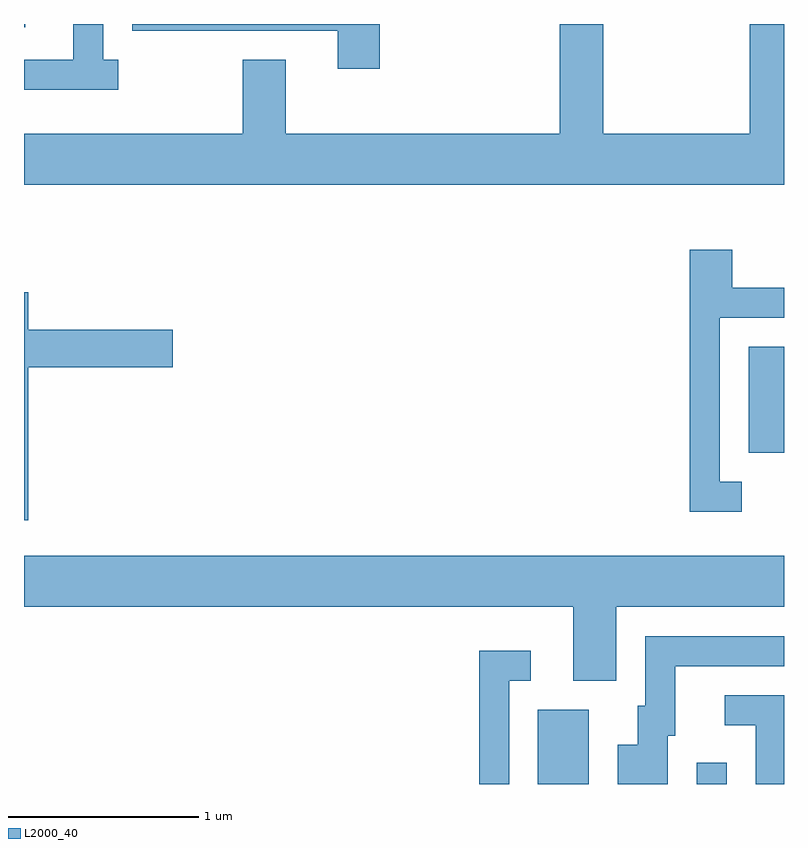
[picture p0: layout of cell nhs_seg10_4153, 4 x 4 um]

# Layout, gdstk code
import gdstk
lib = gdstk.Library(unit=1e-6, precision=1e-09)
def R(c, l, rs):  # rectangles x0, y0, x1, y1
    for r in rs: c.add(gdstk.rectangle(r[:2], r[2:], *l))
def P(c, l, *ps):  # polygons
    for p in ps: c.add(gdstk.Polygon(p, *l))
L2000_40 = (2000, 40)

nhs_seg10_4153 = lib.new_cell('nhs_seg10_4153')
R(nhs_seg10_4153, L2000_40, [(310.316,2128.522,310.584,2128.914), (311.151,2128.522,311.309,2128.633), (311.426,2130.266,311.611,2130.824), (307.611,2132.506,307.618,2132.522)])
P(nhs_seg10_4153, L2000_40, [(311.611,2132.522),(311.431,2132.522),(311.431,2131.944),(310.659,2131.944),(310.659,2132.522),(310.431,2132.522),(310.431,2131.944),(308.989,2131.944),(308.989,2132.334),(308.761,2132.334),(308.761,2131.944),(307.611,2131.944),(307.611,2131.676),(311.611,2131.676)],
  [(309.484,2132.522),(308.181,2132.522),(308.181,2132.486),(309.261,2132.486),(309.261,2132.286),(309.484,2132.286)],
  [(308.108,2132.334),(308.029,2132.334),(308.029,2132.522),(307.871,2132.522),(307.871,2132.334),(307.611,2132.334),(307.611,2132.176),(308.108,2132.176)],
  [(311.388,2130.114),(311.274,2130.114),(311.274,2130.976),(311.611,2130.976),(311.611,2131.134),(311.339,2131.134),(311.339,2131.334),(311.116,2131.334),(311.116,2129.956),(311.388,2129.956)],
  [(307.634,2130.716),(308.394,2130.716),(308.394,2130.914),(307.634,2130.914),(307.634,2131.109),(307.611,2131.109),(307.611,2129.911),(307.634,2129.911)],
  [(310.729,2129.456),(311.611,2129.456),(311.611,2129.724),(307.611,2129.724),(307.611,2129.456),(310.501,2129.456),(310.501,2129.066),(310.729,2129.066)],
  [(310.999,2128.776),(311.039,2128.776),(311.039,2129.141),(311.611,2129.141),(311.611,2129.299),(310.881,2129.299),(310.881,2128.934),(310.841,2128.934),(310.841,2128.729),(310.736,2128.729),(310.736,2128.522),(310.999,2128.522)],
  [(310.164,2129.066),(310.278,2129.066),(310.278,2129.224),(310.006,2129.224),(310.006,2128.522),(310.164,2128.522)],
  [(311.611,2128.989),(311.298,2128.989),(311.298,2128.831),(311.461,2128.831),(311.461,2128.522),(311.611,2128.522)])

lib.write_gds('nhs_seg10_4153.gds')
